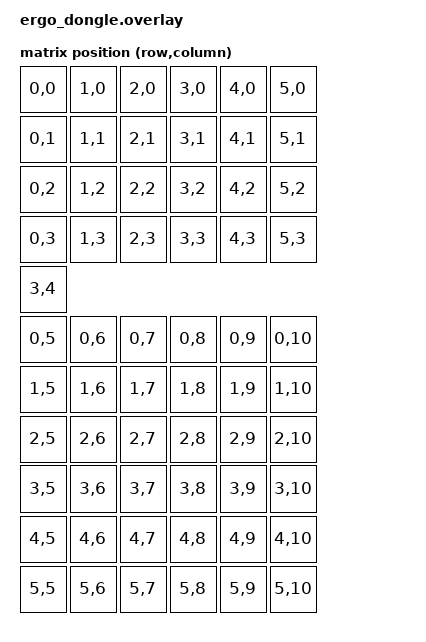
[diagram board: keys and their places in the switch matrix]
/*
 * Ergo dongle (central). It has no keys of its own, so it uses a mock kscan.
 * It carries the SAME matrix transform and physical layout as the keyboard so
 * it can map key-position events received from the two peripherals (left and
 * right halves) into behaviors, and so ZMK Studio has a full layout to show.
 *
 * Phase 1: bare dongle, NO display yet. The screen (prospector module) is
 * added in a later phase once this is confirmed working.
 */

#include <dt-bindings/zmk/matrix_transform.h>
#include "../ergo/ergo-layouts.dtsi"   /* defines ergo_physical_layout */
#include "../ergo/ergo-trackpad.dtsi"  /* trackpad split relay + listener */
#include "../ergo/ergo-encoder.dtsi"   /* keymap-sensors node for encoder relay */

/ {
    chosen {
        zmk,kscan = &mock_kscan;
        zmk,physical-layout = &ergo_physical_layout;
    };

    mock_kscan: mock_kscan_0 {
        compatible = "zmk,kscan-mock";
        columns = <0>;
        rows = <0>;
        events = <0>;
    };

    /*
     * Copied verbatim from ergo.dtsi so the dongle decodes peripheral key
     * positions identically. 11 logical columns x 6 rows; left half is
     * column-major (logical cols 0..4), right half row-major (cols 5..10).
     */
    default_transform: keymap_transform_0 {
        compatible = "zmk,matrix-transform";
        columns = <11>;
        rows = <6>;
        map = <
            /* ---- LEFT half: logical columns 0..4 (column-major) ---- */
            RC(0,0) RC(1,0) RC(2,0) RC(3,0) RC(4,0) RC(5,0)
            RC(0,1) RC(1,1) RC(2,1) RC(3,1) RC(4,1) RC(5,1)
            RC(0,2) RC(1,2) RC(2,2) RC(3,2) RC(4,2) RC(5,2)
            RC(0,3) RC(1,3) RC(2,3) RC(3,3) RC(4,3) RC(5,3)
            RC(3,4)

            /* ---- RIGHT half: logical columns 5..10 (row-major) ---- */
            RC(0,5) RC(0,6) RC(0,7) RC(0,8) RC(0,9) RC(0,10)
            RC(1,5) RC(1,6) RC(1,7) RC(1,8) RC(1,9) RC(1,10)
            RC(2,5) RC(2,6) RC(2,7) RC(2,8) RC(2,9) RC(2,10)
            RC(3,5) RC(3,6) RC(3,7) RC(3,8) RC(3,9) RC(3,10)
            RC(4,5) RC(4,6) RC(4,7) RC(4,8) RC(4,9) RC(4,10)
            RC(5,5) RC(5,6) RC(5,7) RC(5,8) RC(5,9) RC(5,10)
        >;
    };
};

/* Attach the transform to the shared physical layout (same as the keyboard). */
&ergo_physical_layout {
    transform = <&default_transform>;
};

/* Enable the trackpad listener here on the central. It receives relayed
   events from the right peripheral's tps43 via the shared input-split. */
&tps43_split {
    status = "okay";
};

&trackpad_listener {
    status = "okay";
};

/*
 * ---- WS2812B underglow (single LED) ----
 * WS2812 on nRF52840 is driven via SPI MOSI (the SPI peripheral generates the
 * precise timing). The screen uses spi3 and the trackpad uses i2c0, so we use
 * spi1 here. Data pin = D4 (gpio0 4). Wire the LED: DIN->D4, VCC->3V3, GND->GND.
 */
#include <dt-bindings/led/led.h>

&pinctrl {
    spi1_default: spi1_default {
        group1 {
            psels = <NRF_PSEL(SPIM_MOSI, 0, 4)>;  /* D4 = gpio0 4 */
        };
    };
    spi1_sleep: spi1_sleep {
        group1 {
            psels = <NRF_PSEL(SPIM_MOSI, 0, 4)>;
            low-power-enable;
        };
    };
};

&spi1 {
    compatible = "nordic,nrf-spim";
    status = "okay";
    pinctrl-0 = <&spi1_default>;
    pinctrl-1 = <&spi1_sleep>;
    pinctrl-names = "default", "sleep";

    led_strip: ws2812@0 {
        compatible = "worldsemi,ws2812-spi";
        reg = <0>;
        spi-max-frequency = <4000000>;
        chain-length = <1>;            /* single LED */
        spi-one-frame = <0x70>;
        spi-zero-frame = <0x40>;
        color-mapping = <LED_COLOR_ID_GREEN LED_COLOR_ID_RED LED_COLOR_ID_BLUE>;
    };
};

/ {
    chosen {
        zmk,underglow = &led_strip;
    };
};
